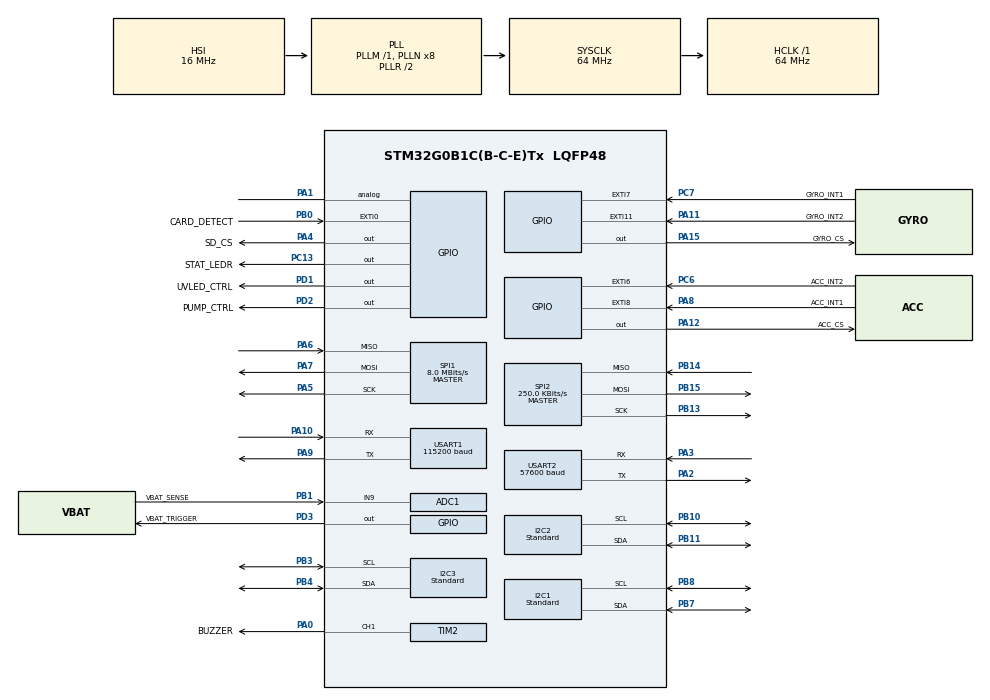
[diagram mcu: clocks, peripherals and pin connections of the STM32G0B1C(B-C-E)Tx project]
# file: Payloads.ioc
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ADC1.Channel-1\#ChannelRegularConversion=ADC_CHANNEL_9
ADC1.Channel-IN9=ADC_CHANNEL_9
ADC1.ClockPrescaler=ADC_CLOCK_SYNC_PCLK_DIV2
ADC1.ContinuousConvMode=DISABLE
ADC1.DMAContinuousRequests=DISABLE
ADC1.DataAlign=ADC_DATAALIGN_RIGHT
ADC1.DiscontinuousConvMode=DISABLE
ADC1.EOCSelection=ADC_EOC_SINGLE_CONV
ADC1.EnableAnalogWatchDog1=false
ADC1.EnableAnalogWatchDog2=false
ADC1.EnableAnalogWatchDog3=false
ADC1.ExternalTrigConv=ADC_SOFTWARE_START
ADC1.ExternalTrigConvEdge=ADC_EXTERNALTRIGCONVEDGE_NONE
ADC1.LowPowerAutoPowerOff=DISABLE
ADC1.LowPowerAutoWait=DISABLE
ADC1.NbrOfConversion=1
ADC1.Overrun=ADC_OVR_DATA_PRESERVED
ADC1.OversamplingMode=DISABLE
ADC1.Rank-1\#ChannelRegularConversion=1
ADC1.Resolution=ADC_RESOLUTION_12B
ADC1.SamplingTime-1\#ChannelRegularConversion=ADC_SAMPLINGTIME_COMMON_1
ADC1.SamplingTimeCommon1=ADC_SAMPLETIME_1CYCLE_5
ADC1.SamplingTimeCommon2=ADC_SAMPLETIME_1CYCLE_5
ADC1.ScanConvMode=ADC_SCAN_DISABLE
ADC1.SelectedChannel=ADC_CHANNEL_9
ADC1.Sequencer=FULLY_CONFIGURABLE
ADC1.TriggerFrequencyMode=ADC_TRIGGER_FREQ_HIGH
ADC1.master=1
I2C1.AddressingMode=I2C_ADDRESSINGMODE_7BIT
I2C1.Analog_Filter=I2C_ANALOGFILTER_ENABLE
I2C1.CustomTiming=Disabled
I2C1.DualAddressMode=I2C_DUALADDRESS_DISABLE
I2C1.GeneralCallMode=I2C_GENERALCALL_DISABLE
I2C1.I2C_Coeff_DF=0
I2C1.I2C_Fall_Time=100
I2C1.I2C_Rise_Time=100
I2C1.I2C_Speed_Mode=I2C_Standard
I2C1.NoStretchMode=I2C_NOSTRETCH_DISABLE
I2C1.OwnAddress=0
I2C1.Speed=100
I2C1.Timing=0x10B17DB5
I2C2.AddressingMode=I2C_ADDRESSINGMODE_7BIT
I2C2.Analog_Filter=I2C_ANALOGFILTER_ENABLE
I2C2.CustomTiming=Disabled
I2C2.DualAddressMode=I2C_DUALADDRESS_DISABLE
I2C2.GeneralCallMode=I2C_GENERALCALL_DISABLE
I2C2.I2C_Coeff_DF=0
I2C2.I2C_Fall_Time=100
I2C2.I2C_Rise_Time=100
I2C2.I2C_Speed_Mode=I2C_Standard
I2C2.NoStretchMode=I2C_NOSTRETCH_DISABLE
I2C2.OwnAddress=0
I2C2.Speed=100
I2C2.Timing=0x10B17DB5
I2C3.AddressingMode=I2C_ADDRESSINGMODE_7BIT
I2C3.Analog_Filter=I2C_ANALOGFILTER_ENABLE
I2C3.CustomTiming=Disabled
I2C3.DualAddressMode=I2C_DUALADDRESS_DISABLE
I2C3.GeneralCallMode=I2C_GENERALCALL_DISABLE
I2C3.I2C_Coeff_DF=0
I2C3.I2C_Fall_Time=100
I2C3.I2C_Rise_Time=100
I2C3.I2C_Speed_Mode=I2C_Standard
I2C3.NoStretchMode=I2C_NOSTRETCH_DISABLE
I2C3.OwnAddress=0
I2C3.Speed=100
I2C3.Timing=0x10B17DB5
Mcu.Family=STM32G0
Mcu.Name=STM32G0B1C(B-C-E)Tx
Mcu.Package=LQFP48
PA0.GPIO_Label=BUZZER
PA0.Signal=S_TIM2_CH1_ETR
PA1.Signal=GPIO_Analog
PA10.Mode=Asynchronous
PA10.Signal=USART1_RX
PA11\ [PA9].GPIO_Label=GYRO_INT2
PA11\ [PA9].Signal=GPXTI11
PA12\ [PA10].GPIO_Label=ACC_CS
PA12\ [PA10].PinState=GPIO_PIN_SET
PA12\ [PA10].Signal=GPIO_Output
PA13.Mode=Serial_Wire
PA13.Signal=SYS_SWDIO
PA14-BOOT0.Mode=Serial_Wire
PA14-BOOT0.Signal=SYS_SWCLK
PA15.GPIO_Label=GYRO_CS
PA15.PinState=GPIO_PIN_SET
PA15.Signal=GPIO_Output
PA2.Mode=Asynchronous
PA2.Signal=USART2_TX
PA3.Mode=Asynchronous
PA3.Signal=USART2_RX
PA4.GPIO_Label=SD_CS
PA4.GPIO_Speed=GPIO_SPEED_FREQ_HIGH
PA4.PinState=GPIO_PIN_SET
PA4.Signal=GPIO_Output
PA5.GPIO_Speed=GPIO_SPEED_FREQ_HIGH
PA5.Mode=Full_Duplex_Master
PA5.Signal=SPI1_SCK
PA6.GPIO_Speed=GPIO_SPEED_FREQ_HIGH
PA6.Mode=Full_Duplex_Master
PA6.Signal=SPI1_MISO
PA7.GPIO_Speed=GPIO_SPEED_FREQ_HIGH
PA7.Mode=Full_Duplex_Master
PA7.Signal=SPI1_MOSI
PA8.GPIO_Label=ACC_INT1
PA8.Signal=GPXTI8
PA9.Mode=Asynchronous
PA9.Signal=USART1_TX
PB0.GPIO_Label=CARD_DETECT
PB0.Signal=GPXTI0
PB1.GPIO_Label=VBAT_SENSE
PB1.Mode=IN9
PB1.Signal=ADC1_IN9
PB10.GPIO_PuPd=GPIO_PULLUP
PB10.Mode=I2C
PB10.Signal=I2C2_SCL
PB11.GPIO_PuPd=GPIO_PULLUP
PB11.Mode=I2C
PB11.Signal=I2C2_SDA
PB13.GPIO_Speed=GPIO_SPEED_FREQ_HIGH
PB13.Mode=Full_Duplex_Master
PB13.Signal=SPI2_SCK
PB14.GPIO_PuPd=GPIO_PULLUP
PB14.GPIO_Speed=GPIO_SPEED_FREQ_HIGH
PB14.Mode=Full_Duplex_Master
PB14.Signal=SPI2_MISO
PB15.GPIO_Speed=GPIO_SPEED_FREQ_HIGH
PB15.Mode=Full_Duplex_Master
PB15.Signal=SPI2_MOSI
PB3.GPIO_PuPd=GPIO_PULLUP
PB3.Mode=I2C
PB3.Signal=I2C3_SCL
PB4.GPIO_PuPd=GPIO_PULLUP
PB4.Mode=I2C
PB4.Signal=I2C3_SDA
PB7.GPIO_PuPd=GPIO_PULLUP
PB7.Mode=I2C
PB7.Signal=I2C1_SDA
PB8.GPIO_PuPd=GPIO_PULLUP
PB8.Mode=I2C
PB8.Signal=I2C1_SCL
PC13.GPIO_Label=STAT_LEDR
PC13.Signal=GPIO_Output
PC6.GPIO_Label=ACC_INT2
PC6.Signal=GPXTI6
PC7.GPIO_Label=GYRO_INT1
PC7.Signal=GPXTI7
PD1.GPIO_Label=UVLED_CTRL
PD1.PinState=GPIO_PIN_SET
PD1.Signal=GPIO_Output
PD2.GPIO_Label=PUMP_CTRL
PD2.Signal=GPIO_Output
PD3.GPIO_Label=VBAT_TRIGGER
PD3.Signal=GPIO_Output
ProjectManager.HeapSize=0x200
ProjectManager.StackSize=0x400
ProjectManager.TargetToolchain=CMake
RCC.ADCFreq_Value=64000000
RCC.AHBFreq_Value=64000000
RCC.CortexFreq_Value=64000000
RCC.EXTERNAL_CLOCK_VALUE=48000
RCC.HCLKFreq_Value=64000000
RCC.HSE_VALUE=8000000
RCC.HSI48_VALUE=48000000
RCC.HSI_VALUE=16000000
RCC.LSE_VALUE=32768
RCC.SYSCLKFreq_VALUE=64000000
RCC.SYSCLKSource=RCC_SYSCLKSOURCE_PLLCLK
RCC.USBFreq_Value=48000000
RCC.VCOOutputFreq_Value=128000000
SH.S_TIM2_CH1_ETR.0=TIM2_CH1,PWM Generation1 CH1
SPI1.BaudRatePrescaler=SPI_BAUDRATEPRESCALER_8
SPI1.CLKPhase=SPI_PHASE_1EDGE
SPI1.CLKPolarity=SPI_POLARITY_LOW
SPI1.CRCCalculation=SPI_CRCCALCULATION_DISABLE
SPI1.CalculateBaudRate=8.0 MBits/s
SPI1.DataSize=SPI_DATASIZE_8BIT
SPI1.Direction=SPI_DIRECTION_2LINES
SPI1.FirstBit=SPI_FIRSTBIT_MSB
SPI1.Mode=SPI_MODE_MASTER
SPI1.NSS=SPI_NSS_SOFT
SPI1.NSSPMode=SPI_NSS_PULSE_ENABLE
SPI1.TIMode=SPI_TIMODE_DISABLE
SPI1.VirtualType=VM_MASTER
SPI2.BaudRatePrescaler=SPI_BAUDRATEPRESCALER_256
SPI2.CLKPhase=SPI_PHASE_1EDGE
SPI2.CLKPolarity=SPI_POLARITY_LOW
SPI2.CRCCalculation=SPI_CRCCALCULATION_DISABLE
SPI2.CalculateBaudRate=250.0 KBits/s
SPI2.DataSize=SPI_DATASIZE_8BIT
SPI2.Direction=SPI_DIRECTION_2LINES
SPI2.FirstBit=SPI_FIRSTBIT_MSB
SPI2.Mode=SPI_MODE_MASTER
SPI2.NSS=SPI_NSS_SOFT
SPI2.NSSPMode=SPI_NSS_PULSE_DISABLE
SPI2.TIMode=SPI_TIMODE_DISABLE
SPI2.VirtualType=VM_MASTER
TIM2.AutoReloadPreload=TIM_AUTORELOAD_PRELOAD_DISABLE
TIM2.Channel-PWM\ Generation1\ CH1=TIM_CHANNEL_1
TIM2.ClearInputSource=TIM_CLEARINPUTSOURCE_NONE
TIM2.ClockDivision=TIM_CLOCKDIVISION_DIV1
TIM2.CounterMode=TIM_COUNTERMODE_UP
TIM2.OC1Preload_PWM=ENABLE
TIM2.OCFastMode_PWM-PWM\ Generation1\ CH1=TIM_OCFAST_DISABLE
TIM2.OCMode_PWM-PWM\ Generation1\ CH1=TIM_OCMODE_PWM1
TIM2.OCPolarity_1=TIM_OCPOLARITY_HIGH
TIM2.Period=4294967295
TIM2.Prescaler=0
TIM2.Pulse-PWM\ Generation1\ CH1=0
TIM2.TIM_MasterOutputTrigger=TIM_TRGO_RESET
TIM2.TIM_MasterSlaveMode=TIM_MASTERSLAVEMODE_DISABLE
USART1.AutoBaudRateEnableParam=UART_ADVFEATURE_AUTOBAUDRATE_DISABLE
USART1.BaudRate=115200
USART1.ClockPrescaler=PRESCALER_DIV1
USART1.DMADisableonRxErrorParam=ADVFEATURE_DMA_ENABLEONRXERROR
USART1.DataInvertParam=ADVFEATURE_DATAINV_DISABLE
USART1.FIFOMode=FIFOMODE_DISABLE
USART1.MSBFirstParam=ADVFEATURE_MSBFIRST_DISABLE
USART1.Mode=MODE_TX_RX
USART1.OneBitSampling=UART_ONE_BIT_SAMPLE_DISABLE
USART1.OverSampling=UART_OVERSAMPLING_16
USART1.OverrunDisableParam=ADVFEATURE_OVERRUN_ENABLE
USART1.Parity=PARITY_NONE
USART1.RXFIFOThreshold=RXFIFO_THRESHOLD_1EIGHTHFULL
USART1.RxPinLevelInvertParam=ADVFEATURE_RXINV_DISABLE
USART1.StopBits=STOPBITS_1
USART1.SwapParam=ADVFEATURE_SWAP_DISABLE
USART1.TXFIFOThreshold=TXFIFO_THRESHOLD_1EIGHTHFULL
USART1.TxPinLevelInvertParam=ADVFEATURE_TXINV_DISABLE
USART1.VirtualMode-Asynchronous=VM_ASYNC
USART1.WordLength=WORDLENGTH_8B
USART2.AutoBaudRateEnableParam=UART_ADVFEATURE_AUTOBAUDRATE_DISABLE
USART2.BaudRate=57600
USART2.ClockPrescaler=PRESCALER_DIV1
USART2.DMADisableonRxErrorParam=ADVFEATURE_DMA_ENABLEONRXERROR
USART2.DataInvertParam=ADVFEATURE_DATAINV_DISABLE
USART2.FIFOMode=FIFOMODE_DISABLE
USART2.MSBFirstParam=ADVFEATURE_MSBFIRST_DISABLE
USART2.Mode=MODE_TX_RX
USART2.OneBitSampling=UART_ONE_BIT_SAMPLE_DISABLE
USART2.OverSampling=UART_OVERSAMPLING_16
USART2.OverrunDisableParam=ADVFEATURE_OVERRUN_ENABLE
USART2.Parity=PARITY_NONE
USART2.RXFIFOThreshold=RXFIFO_THRESHOLD_1EIGHTHFULL
USART2.RxPinLevelInvertParam=ADVFEATURE_RXINV_DISABLE
USART2.StopBits=STOPBITS_1
USART2.SwapParam=ADVFEATURE_SWAP_DISABLE
USART2.TXFIFOThreshold=TXFIFO_THRESHOLD_1EIGHTHFULL
USART2.TxPinLevelInvertParam=ADVFEATURE_TXINV_DISABLE
USART2.VirtualMode-Asynchronous=VM_ASYNC
USART2.WordLength=WORDLENGTH_8B
VP_SYS_VS_DBSignals.Mode=DisableDeadBatterySignals
VP_TIM2_VS_ClockSourceINT.Mode=Internal
board=custom

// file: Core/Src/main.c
/* USER CODE BEGIN Header */
/**
  ******************************************************************************
  * @file           : main.c
  * @brief          : Main program body
  ******************************************************************************
  * @attention
  *
  * Copyright (c) 2026 STMicroelectronics.
  * All rights reserved.
  *
  * This software is licensed under terms that can be found in the LICENSE file
  * in the root directory of this software component.
  * If no LICENSE file comes with this software, it is provided AS-IS.
  *
  ******************************************************************************
  */
/* USER CODE END Header */
#include "main.h"

/* USER CODE BEGIN Includes */
#include "payload_app.h"

/* USER CODE END Includes */

/* USER CODE BEGIN PD */
#define TIM2_INPUT_CLOCK_HZ 64000000U
#define BUZZER_TIMER_PRESCALER 63U
#define BUZZER_TIMER_TICK_HZ \
  (TIM2_INPUT_CLOCK_HZ / (BUZZER_TIMER_PRESCALER + 1U))
#define BUZZER_NOTE_GAP_MS 4U
#define INTERSTELLAR_BPM 99U

/* USER CODE END PD */

ADC_HandleTypeDef hadc1;

I2C_HandleTypeDef hi2c1;
I2C_HandleTypeDef hi2c2;
I2C_HandleTypeDef hi2c3;

SPI_HandleTypeDef hspi1;
SPI_HandleTypeDef hspi2;

TIM_HandleTypeDef htim2;

UART_HandleTypeDef huart1;
UART_HandleTypeDef huart2;

void SystemClock_Config(void);
static void MX_GPIO_Init(void);
static void MX_ADC1_Init(void);
static void MX_I2C1_Init(void);
static void MX_I2C2_Init(void);
static void MX_I2C3_Init(void);
static void MX_SPI1_Init(void);
static void MX_SPI2_Init(void);
static void MX_TIM2_Init(void);
static void MX_USART1_UART_Init(void);
static void MX_USART2_UART_Init(void);

/* USER CODE BEGIN 0 */
static volatile uint8_t uvled_duty_percent;

void UVLED_SetDutyPercent(uint8_t percent)
{
  /* PD1 is a GPIO, not the former TIM2 PWM output. Report the state that is
     physically applied: zero requests low and every nonzero request high. */
  uvled_duty_percent = percent == 0U ? 0U : 100U;
  HAL_GPIO_WritePin(UVLED_CTRL_GPIO_Port,
                    UVLED_CTRL_Pin,
                    uvled_duty_percent == 0U ? GPIO_PIN_RESET : GPIO_PIN_SET);
}

uint8_t UVLED_GetDutyPercent(void)
{
  return uvled_duty_percent;
}

static void update_buzzer_output(uint32_t period_ticks,
                                 uint32_t pulse_ticks)
{
  __HAL_TIM_DISABLE(&htim2);
  __HAL_TIM_SET_AUTORELOAD(&htim2, period_ticks - 1U);
  __HAL_TIM_SET_COMPARE(&htim2, TIM_CHANNEL_1, pulse_ticks);
  __HAL_TIM_SET_COUNTER(&htim2, 0U);
  if (HAL_TIM_GenerateEvent(&htim2, TIM_EVENTSOURCE_UPDATE) != HAL_OK)
  {
    Error_Handler();
  }
  __HAL_TIM_ENABLE(&htim2);
}

typedef enum
{
  NOTE_G4 = 0,
  NOTE_A4,
  NOTE_B4,
  NOTE_C5,
  NOTE_D5,
  NOTE_E5,
  NOTE_F5,
  NOTE_G5,
  NOTE_A5,
  NOTE_B5,
  NOTE_C6,
  NOTE_D6,
  NOTE_E6,
  NOTE_COUNT
} startup_note_t;

static void play_startup_note(startup_note_t note,
                              uint8_t sixteenth_count,
                              uint8_t pulse_percent,
                              uint32_t *timing_remainder)
{
  const uint32_t timing_denominator = 4U * INTERSTELLAR_BPM;
  const uint32_t timing_numerator =
    ((uint32_t)sixteenth_count * 60000U) + *timing_remainder;
  const uint32_t duration_ms = timing_numerator / timing_denominator;
  *timing_remainder = timing_numerator % timing_denominator;

  static const uint16_t frequency_hz[NOTE_COUNT] = {
    392U,  /* G4 */
    440U,  /* A4 */
    494U,  /* B4 */
    523U,  /* C5 */
    587U,  /* D5 */
    659U,  /* E5 */
    698U,  /* F5 */
    784U,  /* G5 */
    880U,  /* A5 */
    988U,  /* B5 */
    1047U, /* C6 */
    1175U, /* D6 */
    1319U, /* E6 */
  };
  const uint32_t period_ticks =
    (BUZZER_TIMER_TICK_HZ + (frequency_hz[note] / 2U)) /
    frequency_hz[note];
  const uint32_t pulse_ticks =
    (period_ticks * pulse_percent) / 100U;
  update_buzzer_output(period_ticks, pulse_ticks);

  const uint32_t sounding_ms = duration_ms > BUZZER_NOTE_GAP_MS
                                 ? duration_ms - BUZZER_NOTE_GAP_MS
                                 : duration_ms;
  HAL_Delay(sounding_ms);
  update_buzzer_output(period_ticks, 0U);
  if (duration_ms > sounding_ms)
  {
    HAL_Delay(duration_ms - sounding_ms);
  }
}

static void play_startup_rest(uint8_t sixteenth_count,
                              uint32_t *timing_remainder)
{
  const uint32_t timing_denominator = 4U * INTERSTELLAR_BPM;
  const uint32_t timing_numerator =
    ((uint32_t)sixteenth_count * 60000U) + *timing_remainder;
  HAL_Delay(timing_numerator / timing_denominator);
  *timing_remainder = timing_numerator % timing_denominator;
}

static void play_startup_song(void)
{
  enum
  {
    DYNAMIC_P = 25U,
    DYNAMIC_MP = 35U,
    DYNAMIC_ACCENT_OFFSET = 10U,
    DYNAMIC_MARCATO = 50U,
  };
  enum
  {
    PATTERN_ACA = 0,
    PATTERN_BGB,
    PATTERN_BGB_RISE,
    PATTERN_A5_ACA,
    PATTERN_B5_BGB,
    PATTERN_B5_BGB_RISE,
    PATTERN_C6_ACA,
    PATTERN_TRANSITION,
  };

  /* Measures 2-13 of the attached score. At the printed dyads in measures
     6-13, keep the accented upper note for this monophonic buzzer reduction. */
  static const startup_note_t patterns[][16] = {
    {NOTE_B5, NOTE_B4, NOTE_G4, NOTE_B4,
     NOTE_D5, NOTE_B4, NOTE_G4, NOTE_B4,
     NOTE_E5, NOTE_B4, NOTE_F5, NOTE_B4,
     NOTE_E5, NOTE_D5, NOTE_C5, NOTE_B4},
  };
  static const uint8_t measure_patterns[] = {
    PATTERN_ACA,         /* 2 */
    PATTERN_BGB,         /* 3 */
    PATTERN_ACA,         /* 4 */
    PATTERN_BGB_RISE,    /* 5 */
    PATTERN_A5_ACA,      /* 6 */
    PATTERN_A5_ACA,      /* 7 */
    PATTERN_B5_BGB,      /* 8 */
    PATTERN_B5_BGB_RISE, /* 9 */
    PATTERN_C6_ACA,      /* 10 */
    PATTERN_C6_ACA,      /* 11 */
    PATTERN_B5_BGB,      /* 12 */
    PATTERN_TRANSITION,  /* 13 */
  };
  static const startup_note_t measure_15[] = {
    NOTE_A4, NOTE_B4, NOTE_C5, NOTE_D5,
    NOTE_E5, NOTE_D5, NOTE_C5, NOTE_B4,
    NOTE_A4, NOTE_A5, NOTE_G5, NOTE_F5,
    NOTE_E5, NOTE_D5, NOTE_C5, NOTE_B4,
  };
  static const startup_note_t measure_16[] = {
    NOTE_A4, NOTE_B4, NOTE_C5, NOTE_D5,
    NOTE_E5, NOTE_D5, NOTE_C5, NOTE_B4,
    NOTE_A4, NOTE_A5, NOTE_G5, NOTE_F5,
    NOTE_E5, NOTE_D5, NOTE_C5, NOTE_D5,
  };
  static const startup_note_t measure_17[] = {
    NOTE_B4, NOTE_C5, NOTE_D5, NOTE_G5,
    NOTE_B5, NOTE_C6, NOTE_D6, NOTE_E6,
  };

  __HAL_TIM_DISABLE(&htim2);
  __HAL_TIM_SET_PRESCALER(&htim2, BUZZER_TIMER_PRESCALER);
  __HAL_TIM_SET_AUTORELOAD(&htim2, BUZZER_TIMER_TICK_HZ - 1U);
  __HAL_TIM_SET_COMPARE(&htim2, TIM_CHANNEL_1, 0U);
  __HAL_TIM_SET_COUNTER(&htim2, 0U);
  if (HAL_TIM_GenerateEvent(&htim2, TIM_EVENTSOURCE_UPDATE) != HAL_OK ||
      HAL_TIM_PWM_Start(&htim2, TIM_CHANNEL_1) != HAL_OK)
  {
    Error_Handler();
  }

  uint32_t timing_remainder = 0U;

  /* Measure 1: four quarter-note E5s, piano. */
  for (uint32_t note_index = 0U; note_index < 2U; note_index++)
  {
    play_startup_note(NOTE_E5, 4U, DYNAMIC_P, &timing_remainder);
  }

  // for (uint32_t measure_index = 0U;
  //      measure_index <
  //        (sizeof(measure_patterns) / sizeof(measure_patterns[0]));
  //      measure_index++)
  // {
  //   const startup_note_t *measure = patterns[measure_patterns[measure_index]];
  //   for (uint32_t note_index = 0U; note_index < 16U; note_index++)
  //   {
  //     uint8_t pulse_percent;
  //     if (measure_index < 3U)
  //     {
  //       pulse_percent = DYNAMIC_P;
  //     }
  //     else if (measure_index == 3U)
  //     {
  //       /* The hairpin in measure 5 rises from p into the following mp. */
  //       pulse_percent =
  //         (uint8_t)(DYNAMIC_P +
  //                   (((DYNAMIC_MP - DYNAMIC_P) * note_index) / 15U));
  //     }
  //     else
  //     {
  //       pulse_percent = DYNAMIC_MP;
  //     }

  //     if (note_index == 0U && measure_index >= 4U)
  //     {
  //       pulse_percent = DYNAMIC_MARCATO;
  //     }
  //     else if ((note_index % 4U) == 0U)
  //     {
  //       pulse_percent =
  //         (uint8_t)(pulse_percent + DYNAMIC_ACCENT_OFFSET);
  //     }
  //     play_startup_note(measure[note_index],
  //                       1U,
  //                       pulse_percent,
  //                       &timing_remainder);
  //   }
  // }

  // /* Measure 14. */
  // for (uint32_t note_index = 0U; note_index < 4U; note_index++)
  // {
  //   play_startup_note(NOTE_A4, 4U, DYNAMIC_MP, &timing_remainder);
  // }

  // /* Measures 15 and 16. */
  // for (uint32_t note_index = 0U; note_index < 16U; note_index++)
  // {
  //   play_startup_note(measure_15[note_index],
  //                     1U,
  //                     DYNAMIC_MP,
  //                     &timing_remainder);
  // }
  // for (uint32_t note_index = 0U; note_index < 16U; note_index++)
  // {
  //   play_startup_note(measure_16[note_index],
  //                     1U,
  //                     DYNAMIC_MP,
  //                     &timing_remainder);
  // }

  // /* Measure 17: two sixteenth-note runs, then the printed half rest. */
  // for (uint32_t note_index = 0U;
  //      note_index < (sizeof(measure_17) / sizeof(measure_17[0]));
  //      note_index++)
  // {
  //   play_startup_note(measure_17[note_index],
  //                     1U,
  //                     DYNAMIC_MP,
  //                     &timing_remainder);
  // }
  // play_startup_rest(8U, &timing_remainder);

  __HAL_TIM_SET_COMPARE(&htim2, TIM_CHANNEL_1, 0U);
  if (HAL_TIM_PWM_Stop(&htim2, TIM_CHANNEL_1) != HAL_OK)
  {
    Error_Handler();
  }
}

/* USER CODE END 0 */

int main(void)
{

  /* MCU Configuration----+----------------------------------------------------*/

  /* Reset of all peripherals, Initializes the Flash interface and the Systick. */

  HAL_Init();

  /* Configure the system clock */
  SystemClock_Config();

  /* Initialize all configured peripherals */
  MX_GPIO_Init();
  MX_ADC1_Init();
  MX_I2C1_Init();
  MX_I2C2_Init();
  MX_I2C3_Init();
  MX_SPI1_Init();
  MX_SPI2_Init();
  MX_TIM2_Init();
  MX_USART1_UART_Init();
  MX_USART2_UART_Init();
  /* USER CODE BEGIN 2 */
  play_startup_song();

  payload_app_init(&hi2c3,
                   &hspi2,
                   &hspi1,
                   &huart2,
                   &huart1);

  /* USER CODE END 2 */

  /* Infinite loop */
  /* USER CODE BEGIN WHILE */
  while (1)
  {
    /* USER CODE BEGIN 3 */
    payload_app_process();

    HAL_Delay(1U);
  }
  /* USER CODE END 3 */
}

void SystemClock_Config(void)
{
  RCC_OscInitTypeDef RCC_OscInitStruct = {0};
  RCC_ClkInitTypeDef RCC_ClkInitStruct = {0};

  /** Configure the main internal regulator output voltage
  */
  HAL_PWREx_ControlVoltageScaling(PWR_REGULATOR_VOLTAGE_SCALE1);

  /** Initializes the RCC Oscillators according to the specified parameters
  * in the RCC_OscInitTypeDef structure.
  */
  RCC_OscInitStruct.OscillatorType = RCC_OSCILLATORTYPE_HSI;
  RCC_OscInitStruct.HSIState = RCC_HSI_ON;
  RCC_OscInitStruct.HSIDiv = RCC_HSI_DIV1;
  RCC_OscInitStruct.HSICalibrationValue = RCC_HSICALIBRATION_DEFAULT;
  RCC_OscInitStruct.PLL.PLLState = RCC_PLL_ON;
  RCC_OscInitStruct.PLL.PLLSource = RCC_PLLSOURCE_HSI;
  RCC_OscInitStruct.PLL.PLLM = RCC_PLLM_DIV1;
  RCC_OscInitStruct.PLL.PLLN = 8;
  RCC_OscInitStruct.PLL.PLLP = RCC_PLLP_DIV2;
  RCC_OscInitStruct.PLL.PLLQ = RCC_PLLQ_DIV2;
  RCC_OscInitStruct.PLL.PLLR = RCC_PLLR_DIV2;
  if (HAL_RCC_OscConfig(&RCC_OscInitStruct) != HAL_OK)
  {
    Error_Handler();
  }

  /** Initializes the CPU, AHB and APB buses clocks
  */
  RCC_ClkInitStruct.ClockType = RCC_CLOCKTYPE_HCLK|RCC_CLOCKTYPE_SYSCLK
                              |RCC_CLOCKTYPE_PCLK1;
  RCC_ClkInitStruct.SYSCLKSource = RCC_SYSCLKSOURCE_PLLCLK;
  RCC_ClkInitStruct.AHBCLKDivider = RCC_SYSCLK_DIV1;
  RCC_ClkInitStruct.APB1CLKDivider = RCC_HCLK_DIV1;

  if (HAL_RCC_ClockConfig(&RCC_ClkInitStruct, FLASH_LATENCY_2) != HAL_OK)
  {
    Error_Handler();
  }
}

static void MX_ADC1_Init(void)
{

  ADC_ChannelConfTypeDef sConfig = {0};

  /** Configure the global features of the ADC (Clock, Resolution, Data Alignment and number of conversion)
  */
  hadc1.Instance = ADC1;
  hadc1.Init.ClockPrescaler = ADC_CLOCK_SYNC_PCLK_DIV2;
  hadc1.Init.Resolution = ADC_RESOLUTION_12B;
  hadc1.Init.DataAlign = ADC_DATAALIGN_RIGHT;
  hadc1.Init.ScanConvMode = ADC_SCAN_DISABLE;
  hadc1.Init.EOCSelection = ADC_EOC_SINGLE_CONV;
  hadc1.Init.LowPowerAutoWait = DISABLE;
  hadc1.Init.LowPowerAutoPowerOff = DISABLE;
  hadc1.Init.ContinuousConvMode = DISABLE;
  hadc1.Init.NbrOfConversion = 1;
  hadc1.Init.DiscontinuousConvMode = DISABLE;
  hadc1.Init.ExternalTrigConv = ADC_SOFTWARE_START;
  hadc1.Init.ExternalTrigConvEdge = ADC_EXTERNALTRIGCONVEDGE_NONE;
  hadc1.Init.DMAContinuousRequests = DISABLE;
  hadc1.Init.Overrun = ADC_OVR_DATA_PRESERVED;
  hadc1.Init.SamplingTimeCommon1 = ADC_SAMPLETIME_1CYCLE_5;
  hadc1.Init.SamplingTimeCommon2 = ADC_SAMPLETIME_1CYCLE_5;
  hadc1.Init.OversamplingMode = DISABLE;
  hadc1.Init.TriggerFrequencyMode = ADC_TRIGGER_FREQ_HIGH;
  if (HAL_ADC_Init(&hadc1) != HAL_OK)
  {
    Error_Handler();
  }

  /** Configure Regular Channel
  */
  sConfig.Channel = ADC_CHANNEL_9;
  sConfig.Rank = ADC_REGULAR_RANK_1;
  sConfig.SamplingTime = ADC_SAMPLINGTIME_COMMON_1;
  if (HAL_ADC_ConfigChannel(&hadc1, &sConfig) != HAL_OK)
  {
    Error_Handler();
  }

}

static void MX_I2C1_Init(void)
{

  hi2c1.Instance = I2C1;
  hi2c1.Init.Timing = 0x10B17DB5;
  hi2c1.Init.OwnAddress1 = 0;
  hi2c1.Init.AddressingMode = I2C_ADDRESSINGMODE_7BIT;
  hi2c1.Init.DualAddressMode = I2C_DUALADDRESS_DISABLE;
  hi2c1.Init.OwnAddress2 = 0;
  hi2c1.Init.OwnAddress2Masks = I2C_OA2_NOMASK;
  hi2c1.Init.GeneralCallMode = I2C_GENERALCALL_DISABLE;
  hi2c1.Init.NoStretchMode = I2C_NOSTRETCH_DISABLE;
  if (HAL_I2C_Init(&hi2c1) != HAL_OK)
  {
    Error_Handler();
  }

  /** Configure Analogue filter
  */
  if (HAL_I2CEx_ConfigAnalogFilter(&hi2c1, I2C_ANALOGFILTER_ENABLE) != HAL_OK)
  {
    Error_Handler();
  }

  /** Configure Digital filter
  */
  if (HAL_I2CEx_ConfigDigitalFilter(&hi2c1, 0) != HAL_OK)
  {
    Error_Handler();
  }

}

static void MX_I2C2_Init(void)
{

  hi2c2.Instance = I2C2;
  hi2c2.Init.Timing = 0x10B17DB5;
  hi2c2.Init.OwnAddress1 = 0;
  hi2c2.Init.AddressingMode = I2C_ADDRESSINGMODE_7BIT;
  hi2c2.Init.DualAddressMode = I2C_DUALADDRESS_DISABLE;
  hi2c2.Init.OwnAddress2 = 0;
  hi2c2.Init.OwnAddress2Masks = I2C_OA2_NOMASK;
  hi2c2.Init.GeneralCallMode = I2C_GENERALCALL_DISABLE;
  hi2c2.Init.NoStretchMode = I2C_NOSTRETCH_DISABLE;
  if (HAL_I2C_Init(&hi2c2) != HAL_OK)
  {
    Error_Handler();
  }

  /** Configure Analogue filter
  */
  if (HAL_I2CEx_ConfigAnalogFilter(&hi2c2, I2C_ANALOGFILTER_ENABLE) != HAL_OK)
  {
    Error_Handler();
  }

  /** Configure Digital filter
  */
  if (HAL_I2CEx_ConfigDigitalFilter(&hi2c2, 0) != HAL_OK)
  {
    Error_Handler();
  }

}

static void MX_I2C3_Init(void)
{

  hi2c3.Instance = I2C3;
  hi2c3.Init.Timing = 0x10B17DB5;
  hi2c3.Init.OwnAddress1 = 0;
  hi2c3.Init.AddressingMode = I2C_ADDRESSINGMODE_7BIT;
  hi2c3.Init.DualAddressMode = I2C_DUALADDRESS_DISABLE;
  hi2c3.Init.OwnAddress2 = 0;
  hi2c3.Init.OwnAddress2Masks = I2C_OA2_NOMASK;
  hi2c3.Init.GeneralCallMode = I2C_GENERALCALL_DISABLE;
  hi2c3.Init.NoStretchMode = I2C_NOSTRETCH_DISABLE;
  if (HAL_I2C_Init(&hi2c3) != HAL_OK)
  {
    Error_Handler();
  }

  /** Configure Analogue filter
  */
  if (HAL_I2CEx_ConfigAnalogFilter(&hi2c3, I2C_ANALOGFILTER_ENABLE) != HAL_OK)
  {
    Error_Handler();
  }

  /** Configure Digital filter
  */
  if (HAL_I2CEx_ConfigDigitalFilter(&hi2c3, 0) != HAL_OK)
  {
    Error_Handler();
  }

}

static void MX_SPI1_Init(void)
{

  /* SPI1 parameter configuration*/
  hspi1.Instance = SPI1;
  hspi1.Init.Mode = SPI_MODE_MASTER;
  hspi1.Init.Direction = SPI_DIRECTION_2LINES;
  hspi1.Init.DataSize = SPI_DATASIZE_8BIT;
  hspi1.Init.CLKPolarity = SPI_POLARITY_LOW;
  hspi1.Init.CLKPhase = SPI_PHASE_1EDGE;
  hspi1.Init.NSS = SPI_NSS_SOFT;
  hspi1.Init.BaudRatePrescaler = SPI_BAUDRATEPRESCALER_8;
  hspi1.Init.FirstBit = SPI_FIRSTBIT_MSB;
  hspi1.Init.TIMode = SPI_TIMODE_DISABLE;
  hspi1.Init.CRCCalculation = SPI_CRCCALCULATION_DISABLE;
  hspi1.Init.CRCPolynomial = 7;
  hspi1.Init.CRCLength = SPI_CRC_LENGTH_DATASIZE;
  hspi1.Init.NSSPMode = SPI_NSS_PULSE_ENABLE;
  if (HAL_SPI_Init(&hspi1) != HAL_OK)
  {
    Error_Handler();
  }

}

static void MX_SPI2_Init(void)
{

  /* SPI2 parameter configuration*/
  hspi2.Instance = SPI2;
  hspi2.Init.Mode = SPI_MODE_MASTER;
  hspi2.Init.Direction = SPI_DIRECTION_2LINES;
  hspi2.Init.DataSize = SPI_DATASIZE_8BIT;
  hspi2.Init.CLKPolarity = SPI_POLARITY_LOW;
  hspi2.Init.CLKPhase = SPI_PHASE_1EDGE;
  hspi2.Init.NSS = SPI_NSS_SOFT;
  hspi2.Init.BaudRatePrescaler = SPI_BAUDRATEPRESCALER_256;
  hspi2.Init.FirstBit = SPI_FIRSTBIT_MSB;
  hspi2.Init.TIMode = SPI_TIMODE_DISABLE;
  hspi2.Init.CRCCalculation = SPI_CRCCALCULATION_DISABLE;
  hspi2.Init.CRCPolynomial = 7;
  hspi2.Init.CRCLength = SPI_CRC_LENGTH_DATASIZE;
  hspi2.Init.NSSPMode = SPI_NSS_PULSE_DISABLE;
  if (HAL_SPI_Init(&hspi2) != HAL_OK)
  {
    Error_Handler();
  }

}

static void MX_TIM2_Init(void)
{

  TIM_ClockConfigTypeDef sClockSourceConfig = {0};
  TIM_MasterConfigTypeDef sMasterConfig = {0};
  TIM_OC_InitTypeDef sConfigOC = {0};

  htim2.Instance = TIM2;
  htim2.Init.Prescaler = 0;
  htim2.Init.CounterMode = TIM_COUNTERMODE_UP;
  htim2.Init.Period = 4294967295;
  htim2.Init.ClockDivision = TIM_CLOCKDIVISION_DIV1;
  htim2.Init.AutoReloadPreload = TIM_AUTORELOAD_PRELOAD_DISABLE;
  if (HAL_TIM_Base_Init(&htim2) != HAL_OK)
  {
    Error_Handler();
  }
  sClockSourceConfig.ClockSource = TIM_CLOCKSOURCE_INTERNAL;
  if (HAL_TIM_ConfigClockSource(&htim2, &sClockSourceConfig) != HAL_OK)
  {
    Error_Handler();
  }
  if (HAL_TIM_PWM_Init(&htim2) != HAL_OK)
  {
    Error_Handler();
  }
  sMasterConfig.MasterOutputTrigger = TIM_TRGO_RESET;
  sMasterConfig.MasterSlaveMode = TIM_MASTERSLAVEMODE_DISABLE;
  if (HAL_TIMEx_MasterConfigSynchronization(&htim2, &sMasterConfig) != HAL_OK)
  {
    Error_Handler();
  }
  sConfigOC.OCMode = TIM_OCMODE_PWM1;
  sConfigOC.Pulse = 0;
  sConfigOC.OCPolarity = TIM_OCPOLARITY_HIGH;
  sConfigOC.OCFastMode = TIM_OCFAST_DISABLE;
  if (HAL_TIM_PWM_ConfigChannel(&htim2, &sConfigOC, TIM_CHANNEL_1) != HAL_OK)
  {
    Error_Handler();
  }
  HAL_TIM_MspPostInit(&htim2);

}

static void MX_USART1_UART_Init(void)
{

  huart1.Instance = USART1;
  huart1.Init.BaudRate = 115200;
  huart1.Init.WordLength = UART_WORDLENGTH_8B;
  huart1.Init.StopBits = UART_STOPBITS_1;
  huart1.Init.Parity = UART_PARITY_NONE;
  huart1.Init.Mode = UART_MODE_TX_RX;
  huart1.Init.HwFlowCtl = UART_HWCONTROL_NONE;
  huart1.Init.OverSampling = UART_OVERSAMPLING_16;
  huart1.Init.OneBitSampling = UART_ONE_BIT_SAMPLE_DISABLE;
  huart1.Init.ClockPrescaler = UART_PRESCALER_DIV1;
  huart1.AdvancedInit.AdvFeatureInit = UART_ADVFEATURE_NO_INIT;
  if (HAL_UART_Init(&huart1) != HAL_OK)
  {
    Error_Handler();
  }
  if (HAL_UARTEx_SetTxFifoThreshold(&huart1, UART_TXFIFO_THRESHOLD_1_8) != HAL_OK)
  {
    Error_Handler();
  }
  if (HAL_UARTEx_SetRxFifoThreshold(&huart1, UART_RXFIFO_THRESHOLD_1_8) != HAL_OK)
  {
    Error_Handler();
  }
  if (HAL_UARTEx_DisableFifoMode(&huart1) != HAL_OK)
  {
    Error_Handler();
  }

}

static void MX_USART2_UART_Init(void)
{

  huart2.Instance = USART2;
  huart2.Init.BaudRate = 57600;
  huart2.Init.WordLength = UART_WORDLENGTH_8B;
  huart2.Init.StopBits = UART_STOPBITS_1;
  huart2.Init.Parity = UART_PARITY_NONE;
  huart2.Init.Mode = UART_MODE_TX_RX;
  huart2.Init.HwFlowCtl = UART_HWCONTROL_NONE;
  huart2.Init.OverSampling = UART_OVERSAMPLING_16;
  huart2.Init.OneBitSampling = UART_ONE_BIT_SAMPLE_DISABLE;
  huart2.Init.ClockPrescaler = UART_PRESCALER_DIV1;
  huart2.AdvancedInit.AdvFeatureInit = UART_ADVFEATURE_NO_INIT;
  if (HAL_UART_Init(&huart2) != HAL_OK)
  {
    Error_Handler();
  }
  if (HAL_UARTEx_SetTxFifoThreshold(&huart2, UART_TXFIFO_THRESHOLD_1_8) != HAL_OK)
  {
    Error_Handler();
  }
  if (HAL_UARTEx_SetRxFifoThreshold(&huart2, UART_RXFIFO_THRESHOLD_1_8) != HAL_OK)
  {
    Error_Handler();
  }
  if (HAL_UARTEx_DisableFifoMode(&huart2) != HAL_OK)
  {
    Error_Handler();
  }

}

static void MX_GPIO_Init(void)
{
  GPIO_InitTypeDef GPIO_InitStruct = {0};

  /* GPIO Ports Clock Enable */
  __HAL_RCC_GPIOC_CLK_ENABLE();
  __HAL_RCC_GPIOA_CLK_ENABLE();
  __HAL_RCC_GPIOB_CLK_ENABLE();
  __HAL_RCC_GPIOD_CLK_ENABLE();

  /*Configure GPIO pin Output Level */
  HAL_GPIO_WritePin(STAT_LEDR_GPIO_Port, STAT_LEDR_Pin, GPIO_PIN_RESET);

  /*Configure GPIO pin Output Level */
  HAL_GPIO_WritePin(SD_CS_GPIO_Port, SD_CS_Pin, GPIO_PIN_SET);

  /*Configure GPIO pin Output Level */
  HAL_GPIO_WritePin(GPIOA, ACC_CS_Pin|GYRO_CS_Pin, GPIO_PIN_SET);

  /*Configure GPIO pin Output Level */
  HAL_GPIO_WritePin(GPIOD, PUMP_CTRL_Pin|VBAT_TRIGGER_Pin, GPIO_PIN_RESET);

  /* Keep the PD1 UV LED control low before changing the pin to output mode,
     so the LED cannot pulse on during GPIO initialization. */
  HAL_GPIO_WritePin(UVLED_CTRL_GPIO_Port, UVLED_CTRL_Pin, GPIO_PIN_RESET);

  /*Configure GPIO pin : STAT_LEDR_Pin */
  GPIO_InitStruct.Pin = STAT_LEDR_Pin;
  GPIO_InitStruct.Mode = GPIO_MODE_OUTPUT_PP;
  GPIO_InitStruct.Pull = GPIO_NOPULL;
  GPIO_InitStruct.Speed = GPIO_SPEED_FREQ_LOW;
  HAL_GPIO_Init(STAT_LEDR_GPIO_Port, &GPIO_InitStruct);

  /*Configure GPIO pin : SD_CS_Pin */
  GPIO_InitStruct.Pin = SD_CS_Pin;
  GPIO_InitStruct.Mode = GPIO_MODE_OUTPUT_PP;
  GPIO_InitStruct.Pull = GPIO_NOPULL;
  GPIO_InitStruct.Speed = GPIO_SPEED_FREQ_HIGH;
  HAL_GPIO_Init(SD_CS_GPIO_Port, &GPIO_InitStruct);

  /*Configure GPIO pin : CARD_DETECT_Pin */
  GPIO_InitStruct.Pin = CARD_DETECT_Pin;
  GPIO_InitStruct.Mode = GPIO_MODE_IT_RISING;
  GPIO_InitStruct.Pull = GPIO_NOPULL;
  HAL_GPIO_Init(CARD_DETECT_GPIO_Port, &GPIO_InitStruct);

  /*Configure GPIO pins : ACC_INT1_Pin GYRO_INT2_Pin */
  GPIO_InitStruct.Pin = ACC_INT1_Pin|GYRO_INT2_Pin;
  GPIO_InitStruct.Mode = GPIO_MODE_IT_RISING;
  GPIO_InitStruct.Pull = GPIO_NOPULL;
  HAL_GPIO_Init(GPIOA, &GPIO_InitStruct);

  /*Configure GPIO pins : ACC_INT2_Pin GYRO_INT1_Pin */
  GPIO_InitStruct.Pin = ACC_INT2_Pin|GYRO_INT1_Pin;
  GPIO_InitStruct.Mode = GPIO_MODE_IT_RISING;
  GPIO_InitStruct.Pull = GPIO_NOPULL;
  HAL_GPIO_Init(GPIOC, &GPIO_InitStruct);

  /*Configure GPIO pins : ACC_CS_Pin GYRO_CS_Pin */
  GPIO_InitStruct.Pin = ACC_CS_Pin|GYRO_CS_Pin;
  GPIO_InitStruct.Mode = GPIO_MODE_OUTPUT_PP;
  GPIO_InitStruct.Pull = GPIO_NOPULL;
  GPIO_InitStruct.Speed = GPIO_SPEED_FREQ_LOW;
  HAL_GPIO_Init(GPIOA, &GPIO_InitStruct);

  /*Configure GPIO pins : UVLED_CTRL_Pin PUMP_CTRL_Pin VBAT_TRIGGER_Pin */
  GPIO_InitStruct.Pin = UVLED_CTRL_Pin|PUMP_CTRL_Pin|VBAT_TRIGGER_Pin;
  GPIO_InitStruct.Mode = GPIO_MODE_OUTPUT_PP;
  GPIO_InitStruct.Pull = GPIO_NOPULL;
  GPIO_InitStruct.Speed = GPIO_SPEED_FREQ_LOW;
  HAL_GPIO_Init(GPIOD, &GPIO_InitStruct);

  /* USER CODE BEGIN MX_GPIO_Init_2 */
  UVLED_SetDutyPercent(0U);

  /* USER CODE END MX_GPIO_Init_2 */
}

void Error_Handler(void)
{
  /* USER CODE BEGIN Error_Handler_Debug */
  /* User can add his own implementation to report the HAL error return state */
  UVLED_SetDutyPercent(0U);
  HAL_GPIO_WritePin(PUMP_CTRL_GPIO_Port, PUMP_CTRL_Pin, GPIO_PIN_RESET);
  __disable_irq();
  while (1)
  {
  }
  /* USER CODE END Error_Handler_Debug */
}
